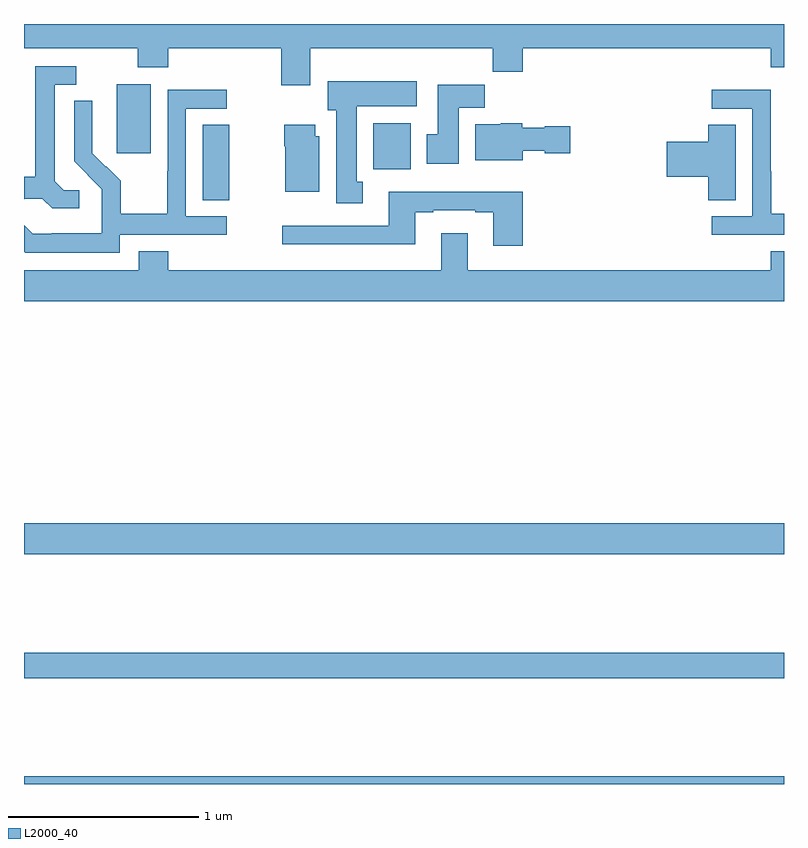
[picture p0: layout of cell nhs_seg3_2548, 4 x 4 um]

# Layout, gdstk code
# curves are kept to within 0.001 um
import gdstk
lib = gdstk.Library(unit=1e-6, precision=1e-09)
def R(c, l, rs):  # rectangles x0, y0, x1, y1
    for r in rs: c.add(gdstk.rectangle(r[:2], r[2:], *l))
def P(c, l, *ps):  # polygons
    for p in ps: c.add(gdstk.Polygon(p, *l))
L2000_40 = (2000, 40)

nhs_seg3_2548 = lib.new_cell('nhs_seg3_2548')
R(nhs_seg3_2548, L2000_40, [(243,674.4,247,674.44), (243,674.956,247,675.092), (243,675.608,247,675.772), (243.941,677.473,244.08,677.87), (244.838,677.636,245.035,677.878), (243.488,677.721,243.667,678.082)])
P(nhs_seg3_2548, L2000_40, [(244.507,678.272),(245.467,678.272),(245.467,678.148),(245.624,678.148),(245.624,678.272),(246.929,678.272),(246.929,678.173),(247,678.173),(247,678.4),(243,678.4),(243,678.272),(243.598,678.272),(243.598,678.173),(243.758,678.173),(243.758,678.272),(244.355,678.272),(244.355,678.078),(244.507,678.078)],
  [(243.292,677.526),(243.21,677.526),(243.163,677.573),(243.163,678.081),(243.274,678.081),(243.274,678.177),(243.059,678.177),(243.059,677.597),(243,677.597),(243,677.478),(243.002,677.478),(243.002,677.481),(243.096,677.481),(243.148,677.429),(243.292,677.429)],
  [(244.783,677.57),(244.75,677.57),(244.75,677.966),(245.068,677.966),(245.068,678.1),(244.598,678.1),(244.598,677.946),(244.643,677.946),(244.643,677.457),(244.783,677.457)],
  [(245.287,677.96),(245.426,677.96),(245.426,678.079),(245.177,678.079),(245.177,677.82),(245.12,677.82),(245.12,677.664),(245.287,677.664)],
  [(247,677.401),(246.933,677.401),(246.933,677.624),(246.93,677.624),(246.93,678.054),(246.621,678.054),(246.621,677.955),(246.834,677.955),(246.834,677.388),(246.621,677.388),(246.621,677.292),(247,677.292)],
  [(243.504,677.292),(244.066,677.292),(244.066,677.388),(243.852,677.388),(243.852,677.955),(244.066,677.955),(244.066,678.054),(243.756,678.054),(243.756,677.624),(243.754,677.624),(243.754,677.401),(243.509,677.401),(243.509,677.575),(243.432,677.652),(243.429,677.649),(243.359,677.72),(243.36,677.996),(243.264,677.996),(243.264,677.678),(243.41,677.53),(243.41,677.433),(243.408,677.433),(243.408,677.299),(243.145,677.299),(243.145,677.295),(243.045,677.295),(243,677.34),(243,677.202),(243.007,677.195),(243.504,677.195)],
  [(245.626,677.732),(245.742,677.732),(245.742,677.72),(245.875,677.72),(245.875,677.862),(245.742,677.862),(245.742,677.854),(245.622,677.854),(245.622,677.878),(245.508,677.878),(245.508,677.872),(245.375,677.872),(245.375,677.684),(245.626,677.684)],
  [(246.745,677.87),(246.602,677.87),(246.602,677.78),(246.384,677.78),(246.384,677.597),(246.602,677.597),(246.602,677.473),(246.745,677.473)],
  [(244.555,677.808),(244.534,677.808),(244.534,677.869),(244.369,677.869),(244.369,677.756),(244.376,677.756),(244.376,677.516),(244.555,677.516)],
  [(245.624,677.518),(244.919,677.518),(244.919,677.337),(244.359,677.337),(244.359,677.24),(245.059,677.24),(245.059,677.409),(245.155,677.409),(245.155,677.421),(245.375,677.421),(245.375,677.409),(245.471,677.409),(245.471,677.232),(245.624,677.232)],
  [(247,677.203),(246.929,677.203),(246.929,677.104),(245.335,677.104),(245.335,677.299),(245.195,677.299),(245.195,677.104),(243.758,677.104),(243.758,677.203),(243.605,677.203),(243.605,677.104),(243,677.104),(243,676.94),(247,676.94)])

lib.write_gds('nhs_seg3_2548.gds')
